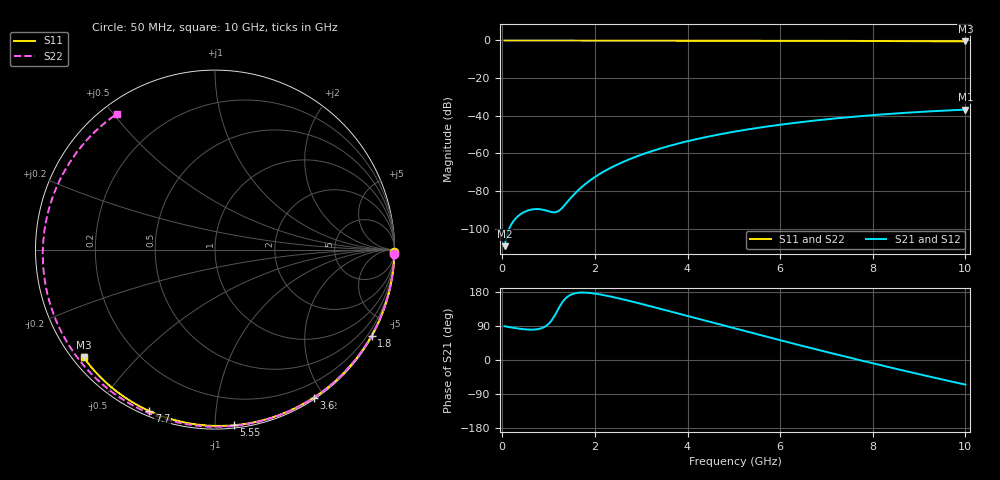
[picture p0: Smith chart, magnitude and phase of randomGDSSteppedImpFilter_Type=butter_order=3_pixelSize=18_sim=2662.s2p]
! freq	dB(S11)	phase(S11)	dB(S12)	phase(S12)
!  dB(S21)	phase(S21)	dB(S22)	phase(S22)
!S-par simulation data
#  GHz  S  DB  R 50
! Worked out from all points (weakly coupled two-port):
!   200 points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, 50 MHz to 10 GHz, reference 50 ohm
!   highest |S21| = -36.76 dB at 10 GHz (marker M1); lowest = -109.3 dB at 50 MHz (marker M2)
!   lowest |S11| = -0.5 dB at 10 GHz (marker M3), VSWR 36.44, Z = 1.55 - j17.9 ohm
!   |S11| at or under -10 dB: nowhere
!   |S22| runs from -0.6 to 0.0 dB; largest |S21 - S12| = 0
!   S11 on the Smith chart (normalised r, x): 50 MHz: open; 1.8 GHz: 0.03, -3.89; 3.6 GHz: 0.02, -1.87; 5.55 GHz: 0.02, -1.11; 7.7 GHz: 0.02, -0.67; 10 GHz: 0.03, -0.36
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0.05  -0.00 -0.8  -109.31 89.1  -109.31 89.1  -0.00 -1.4
0.4  -0.01 -6.5  -92.20 82.1  -92.20 82.1  -0.02 -11.3
0.8  -0.02 -12.9  -89.65 82.2  -89.65 82.2  -0.03 -22.5
1.6  -0.03 -25.7  -80.52 176.7  -80.52 176.7  -0.06 -44.3
1.65  -0.03 -26.5  -79.33 177.5  -79.33 177.5  -0.06 -45.7
1.75  -0.04 -28.1  -77.15 178.0  -77.15 178.0  -0.06 -48.3
1.8  -0.04 -28.8  -76.14 177.8  -76.14 177.8  -0.06 -49.6
2.1  -0.04 -33.5  -70.99 173.2  -70.99 173.2  -0.07 -57.5
2.45  -0.05 -39.0  -66.33 164.4  -66.33 164.4  -0.08 -66.4
2.9  -0.06 -45.8  -61.63 151.2  -61.63 151.2  -0.10 -77.7
3.4  -0.07 -53.4  -57.50 135.4  -57.50 135.4  -0.11 -89.7
3.6  -0.08 -56.3  -56.07 129.0  -56.07 129.0  -0.12 -94.4
4.3  -0.09 -66.5  -51.85 106.4  -51.85 106.4  -0.15 -110.3
5.05  -0.12 -77.1  -48.30 82.2  -48.30 82.2  -0.18 -126.7
5.55  -0.14 -84.0  -46.33 66.3  -46.33 66.3  -0.21 -137.3
6.15  -0.16 -92.1  -44.29 47.5  -44.29 47.5  -0.25 -149.8
6.7  -0.19 -99.3  -42.69 30.5  -42.69 30.5  -0.29 -161.2
7.2  -0.22 -105.7  -41.42 15.2  -41.42 15.2  -0.33 -171.6
7.7  -0.26 -112.1  -40.29 0.2  -40.29 0.2  -0.37 177.9
8.35  -0.31 -120.2  -39.04 -18.9  -39.04 -18.9  -0.43 163.9
9.15  -0.38 -130.1  -37.79 -41.7  -37.79 -41.7  -0.51 146.0
10  -0.48 -140.6  -36.76 -64.9  -36.76 -64.9  -0.60 125.8
